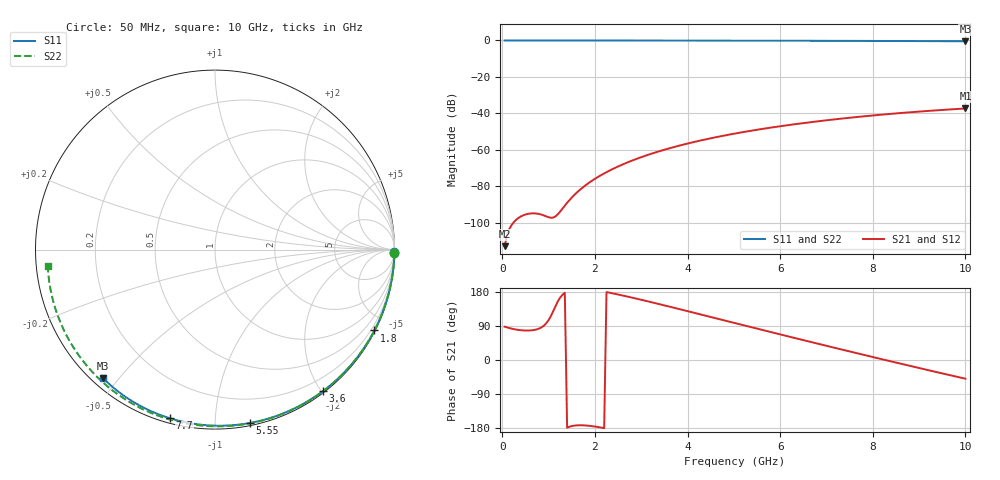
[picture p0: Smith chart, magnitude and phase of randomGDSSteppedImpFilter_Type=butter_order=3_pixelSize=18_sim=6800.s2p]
! freq	dB(S11)	phase(S11)	dB(S12)	phase(S12)
!  dB(S21)	phase(S21)	dB(S22)	phase(S22)
!S-par simulation data
#  GHz  S  DB  R 50
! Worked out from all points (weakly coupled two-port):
!   200 points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, 50 MHz to 10 GHz, reference 50 ohm
!   highest |S21| = -37.37 dB at 10 GHz (marker M1); lowest = -113.0 dB at 50 MHz (marker M2)
!   lowest |S11| = -0.4 dB at 10 GHz (marker M3), VSWR 38.87, Z = 1.55 - j22.7 ohm
!   |S11| at or under -10 dB: nowhere
!   |S22| runs from -0.6 to 0.0 dB; largest |S21 - S12| = 0
!   S11 on the Smith chart (normalised r, x): 50 MHz: open; 1.8 GHz: 0.04, -4.18; 3.6 GHz: 0.02, -2.02; 5.55 GHz: 0.02, -1.22; 7.7 GHz: 0.02, -0.77; 10 GHz: 0.03, -0.45
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0.05  -0.00 -0.8  -113.00 88.0  -113.00 88.0  -0.00 -1.0
0.45  -0.01 -6.8  -96.08 78.1  -96.08 78.1  -0.01 -8.9
0.85  -0.02 -12.8  -95.70 86.4  -95.70 86.4  -0.02 -16.8
1.3  -0.02 -19.5  -92.33 172.2  -92.33 172.2  -0.03 -25.6
1.75  -0.03 -26.2  -80.49 -172.4  -80.49 -172.4  -0.04 -34.2
1.8  -0.03 -26.9  -79.51 -172.8  -79.51 -172.8  -0.04 -35.2
1.95  -0.04 -29.1  -76.82 -174.8  -76.82 -174.8  -0.05 -38.0
2.1  -0.04 -31.3  -74.46 -177.6  -74.46 -177.6  -0.05 -40.9
2.3  -0.04 -34.2  -71.67 177.9  -71.67 177.9  -0.06 -44.6
2.5  -0.05 -37.1  -69.22 172.9  -69.22 172.9  -0.06 -48.4
2.9  -0.06 -42.8  -65.04 161.9  -65.04 161.9  -0.07 -55.7
3.4  -0.07 -49.8  -60.78 147.1  -60.78 147.1  -0.09 -64.8
3.6  -0.07 -52.6  -59.30 141.1  -59.30 141.1  -0.09 -68.4
4.3  -0.09 -62.1  -54.84 119.7  -54.84 119.7  -0.11 -80.6
5.05  -0.11 -72.1  -51.01 96.6  -51.01 96.6  -0.14 -93.4
5.55  -0.13 -78.5  -48.85 81.3  -48.85 81.3  -0.17 -101.7
6.1  -0.15 -85.5  -46.76 64.5  -46.76 64.5  -0.20 -110.7
6.7  -0.18 -92.9  -44.76 46.4  -44.76 46.4  -0.24 -120.3
7.7  -0.24 -104.9  -41.94 16.6  -41.94 16.6  -0.31 -136.3
8.35  -0.29 -112.5  -40.40 -2.4  -40.40 -2.4  -0.38 -146.8
9.2  -0.36 -122.2  -38.69 -26.9  -38.69 -26.9  -0.47 -160.7
10  -0.45 -131.2  -37.37 -49.4  -37.37 -49.4  -0.57 -174.4
